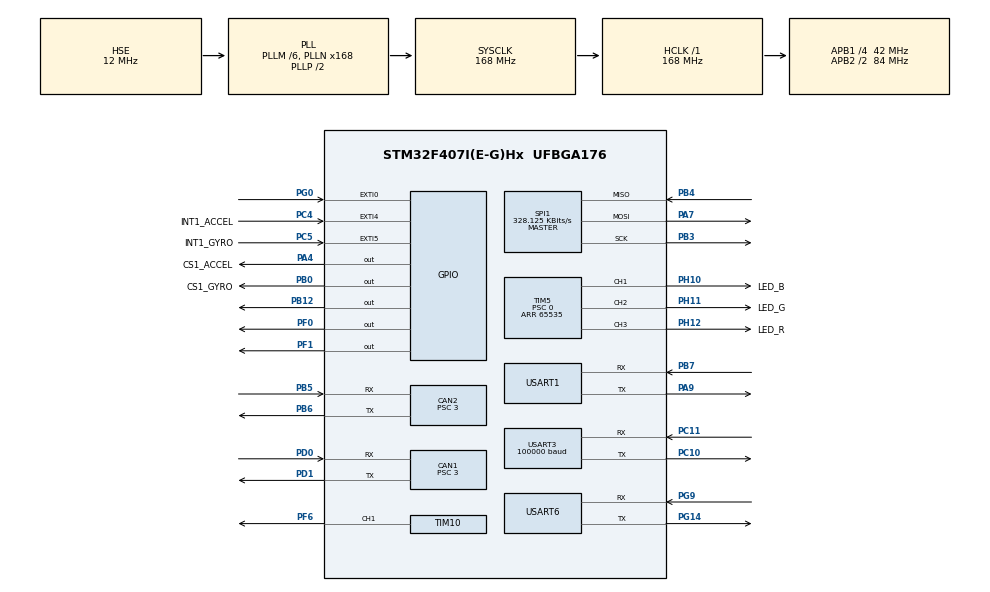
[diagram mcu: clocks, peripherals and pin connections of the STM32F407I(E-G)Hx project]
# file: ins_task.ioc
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CAN1.BS1=CAN_BS1_10TQ
CAN1.BS2=CAN_BS2_3TQ
CAN1.CalculateBaudRate=1000000
CAN1.CalculateTimeBit=1000
CAN1.CalculateTimeQuantum=71.42857142857143
CAN1.Prescaler=3
CAN2.BS1=CAN_BS1_10TQ
CAN2.BS2=CAN_BS2_3TQ
CAN2.CalculateBaudRate=1000000
CAN2.CalculateTimeBit=1000
CAN2.CalculateTimeQuantum=71.42857142857143
CAN2.Prescaler=3
Dma.Request0=SPI1_RX
Dma.Request1=SPI1_TX
Dma.Request2=USART6_RX
Dma.Request3=USART6_TX
Dma.Request4=USART1_RX
Dma.Request5=USART1_TX
Dma.Request6=USART3_RX
Dma.SPI1_RX.0.Direction=DMA_PERIPH_TO_MEMORY
Dma.SPI1_RX.0.FIFOMode=DMA_FIFOMODE_DISABLE
Dma.SPI1_RX.0.Instance=DMA2_Stream2
Dma.SPI1_RX.0.MemDataAlignment=DMA_MDATAALIGN_BYTE
Dma.SPI1_RX.0.MemInc=DMA_MINC_ENABLE
Dma.SPI1_RX.0.Mode=DMA_NORMAL
Dma.SPI1_RX.0.PeriphDataAlignment=DMA_PDATAALIGN_BYTE
Dma.SPI1_RX.0.PeriphInc=DMA_PINC_DISABLE
Dma.SPI1_RX.0.Priority=DMA_PRIORITY_VERY_HIGH
Dma.SPI1_TX.1.Direction=DMA_MEMORY_TO_PERIPH
Dma.SPI1_TX.1.FIFOMode=DMA_FIFOMODE_DISABLE
Dma.SPI1_TX.1.Instance=DMA2_Stream3
Dma.SPI1_TX.1.MemDataAlignment=DMA_MDATAALIGN_BYTE
Dma.SPI1_TX.1.MemInc=DMA_MINC_ENABLE
Dma.SPI1_TX.1.Mode=DMA_NORMAL
Dma.SPI1_TX.1.PeriphDataAlignment=DMA_PDATAALIGN_BYTE
Dma.SPI1_TX.1.PeriphInc=DMA_PINC_DISABLE
Dma.SPI1_TX.1.Priority=DMA_PRIORITY_HIGH
Dma.USART1_RX.4.Direction=DMA_PERIPH_TO_MEMORY
Dma.USART1_RX.4.FIFOMode=DMA_FIFOMODE_DISABLE
Dma.USART1_RX.4.Instance=DMA2_Stream5
Dma.USART1_RX.4.MemDataAlignment=DMA_MDATAALIGN_BYTE
Dma.USART1_RX.4.MemInc=DMA_MINC_ENABLE
Dma.USART1_RX.4.Mode=DMA_NORMAL
Dma.USART1_RX.4.PeriphDataAlignment=DMA_PDATAALIGN_BYTE
Dma.USART1_RX.4.PeriphInc=DMA_PINC_DISABLE
Dma.USART1_RX.4.Priority=DMA_PRIORITY_LOW
Dma.USART1_TX.5.Direction=DMA_MEMORY_TO_PERIPH
Dma.USART1_TX.5.FIFOMode=DMA_FIFOMODE_DISABLE
Dma.USART1_TX.5.Instance=DMA2_Stream7
Dma.USART1_TX.5.MemDataAlignment=DMA_MDATAALIGN_BYTE
Dma.USART1_TX.5.MemInc=DMA_MINC_ENABLE
Dma.USART1_TX.5.Mode=DMA_NORMAL
Dma.USART1_TX.5.PeriphDataAlignment=DMA_PDATAALIGN_BYTE
Dma.USART1_TX.5.PeriphInc=DMA_PINC_DISABLE
Dma.USART1_TX.5.Priority=DMA_PRIORITY_LOW
Dma.USART3_RX.6.Direction=DMA_PERIPH_TO_MEMORY
Dma.USART3_RX.6.FIFOMode=DMA_FIFOMODE_DISABLE
Dma.USART3_RX.6.Instance=DMA1_Stream1
Dma.USART3_RX.6.MemDataAlignment=DMA_MDATAALIGN_BYTE
Dma.USART3_RX.6.MemInc=DMA_MINC_ENABLE
Dma.USART3_RX.6.Mode=DMA_NORMAL
Dma.USART3_RX.6.PeriphDataAlignment=DMA_PDATAALIGN_BYTE
Dma.USART3_RX.6.PeriphInc=DMA_PINC_DISABLE
Dma.USART3_RX.6.Priority=DMA_PRIORITY_VERY_HIGH
Dma.USART6_RX.2.Direction=DMA_PERIPH_TO_MEMORY
Dma.USART6_RX.2.FIFOMode=DMA_FIFOMODE_DISABLE
Dma.USART6_RX.2.Instance=DMA2_Stream1
Dma.USART6_RX.2.MemDataAlignment=DMA_MDATAALIGN_BYTE
Dma.USART6_RX.2.MemInc=DMA_MINC_ENABLE
Dma.USART6_RX.2.Mode=DMA_NORMAL
Dma.USART6_RX.2.PeriphDataAlignment=DMA_PDATAALIGN_BYTE
Dma.USART6_RX.2.PeriphInc=DMA_PINC_DISABLE
Dma.USART6_RX.2.Priority=DMA_PRIORITY_LOW
Dma.USART6_TX.3.Direction=DMA_MEMORY_TO_PERIPH
Dma.USART6_TX.3.FIFOMode=DMA_FIFOMODE_DISABLE
Dma.USART6_TX.3.Instance=DMA2_Stream6
Dma.USART6_TX.3.MemDataAlignment=DMA_MDATAALIGN_BYTE
Dma.USART6_TX.3.MemInc=DMA_MINC_ENABLE
Dma.USART6_TX.3.Mode=DMA_NORMAL
Dma.USART6_TX.3.PeriphDataAlignment=DMA_PDATAALIGN_BYTE
Dma.USART6_TX.3.PeriphInc=DMA_PINC_DISABLE
Dma.USART6_TX.3.Priority=DMA_PRIORITY_LOW
FREERTOS.INCLUDE_eTaskGetState=1
FREERTOS.INCLUDE_pcTaskGetTaskName=1
FREERTOS.INCLUDE_uxTaskGetStackHighWaterMark=1
FREERTOS.INCLUDE_vTaskCleanUpResources=1
FREERTOS.INCLUDE_vTaskDelayUntil=1
FREERTOS.INCLUDE_xEventGroupSetBitFromISR=1
FREERTOS.INCLUDE_xQueueGetMutexHolder=1
FREERTOS.INCLUDE_xSemaphoreGetMutexHolder=1
FREERTOS.INCLUDE_xTaskAbortDelay=1
FREERTOS.INCLUDE_xTaskGetCurrentTaskHandle=1
FREERTOS.INCLUDE_xTaskGetHandle=1
FREERTOS.INCLUDE_xTimerPendFunctionCall=1
FREERTOS.Tasks01=test,0,128,test_task,As weak,NULL,Dynamic,NULL,NULL;myTask02,-3,128,StartTask02,Default,NULL,Dynamic,NULL,NULL
FREERTOS.configTOTAL_HEAP_SIZE=24576
Mcu.Family=STM32F4
Mcu.Name=STM32F407I(E-G)Hx
Mcu.Package=UFBGA176
NVIC.CAN1_RX0_IRQn=true\:5\:0\:false\:false\:true\:true\:true\:true\:true
NVIC.CAN2_RX0_IRQn=true\:5\:0\:false\:false\:true\:true\:true\:true\:true
NVIC.DMA1_Stream1_IRQn=true\:5\:0\:false\:false\:true\:true\:false\:true\:true
NVIC.DMA2_Stream1_IRQn=true\:5\:0\:false\:false\:true\:true\:false\:true\:true
NVIC.DMA2_Stream2_IRQn=true\:5\:0\:true\:false\:false\:true\:false\:true\:true
NVIC.DMA2_Stream3_IRQn=true\:5\:0\:true\:false\:false\:true\:false\:true\:true
NVIC.DMA2_Stream5_IRQn=true\:5\:0\:false\:false\:true\:true\:false\:true\:true
NVIC.DMA2_Stream6_IRQn=true\:5\:0\:false\:false\:true\:true\:false\:true\:true
NVIC.DMA2_Stream7_IRQn=true\:5\:0\:false\:false\:true\:true\:false\:true\:true
NVIC.EXTI0_IRQn=true\:6\:0\:true\:false\:true\:true\:true\:true\:true
NVIC.EXTI4_IRQn=true\:5\:0\:true\:false\:true\:true\:true\:true\:true
NVIC.EXTI9_5_IRQn=true\:5\:0\:true\:false\:true\:true\:true\:true\:true
NVIC.PriorityGroup=NVIC_PRIORITYGROUP_4
NVIC.TIM4_IRQn=true\:15\:0\:false\:false\:true\:false\:false\:true\:true
NVIC.TimeBase=TIM4_IRQn
NVIC.TimeBaseIP=TIM4
NVIC.USART1_IRQn=true\:5\:0\:false\:false\:true\:true\:true\:true\:true
NVIC.USART3_IRQn=true\:5\:0\:false\:false\:true\:true\:true\:true\:true
NVIC.USART6_IRQn=true\:5\:0\:false\:false\:true\:true\:true\:true\:true
PA13.Mode=Serial_Wire
PA13.Signal=SYS_JTMS-SWDIO
PA14.Mode=Serial_Wire
PA14.Signal=SYS_JTCK-SWCLK
PA4.GPIO_Label=CS1_ACCEL
PA4.GPIO_PuPd=GPIO_PULLUP
PA4.GPIO_Speed=GPIO_SPEED_FREQ_HIGH
PA4.PinState=GPIO_PIN_SET
PA4.Signal=GPIO_Output
PA7.GPIO_PuPd=GPIO_PULLUP
PA7.Mode=Full_Duplex_Master
PA7.Signal=SPI1_MOSI
PA9.Mode=Asynchronous
PA9.Signal=USART1_TX
PB0.GPIO_Label=CS1_GYRO
PB0.GPIO_PuPd=GPIO_PULLUP
PB0.GPIO_Speed=GPIO_SPEED_FREQ_HIGH
PB0.PinState=GPIO_PIN_SET
PB0.Signal=GPIO_Output
PB12.GPIO_ModeDefaultOutputPP=GPIO_MODE_OUTPUT_PP
PB12.GPIO_PuPd=GPIO_NOPULL
PB12.PinState=GPIO_PIN_RESET
PB12.Signal=GPIO_Output
PB3.GPIO_PuPd=GPIO_PULLUP
PB3.Mode=Full_Duplex_Master
PB3.Signal=SPI1_SCK
PB4.GPIO_PuPd=GPIO_PULLUP
PB4.Mode=Full_Duplex_Master
PB4.Signal=SPI1_MISO
PB5.Mode=CAN_Activate
PB5.Signal=CAN2_RX
PB6.Mode=CAN_Activate
PB6.Signal=CAN2_TX
PB7.Mode=Asynchronous
PB7.Signal=USART1_RX
PC10.Mode=Asynchronous
PC10.Signal=USART3_TX
PC11.Mode=Asynchronous
PC11.Signal=USART3_RX
PC4.GPIO_Label=INT1_ACCEL
PC4.GPIO_ModeDefaultEXTI=GPIO_MODE_IT_FALLING
PC4.GPIO_PuPd=GPIO_PULLUP
PC4.Signal=GPXTI4
PC5.GPIO_Label=INT1_GYRO
PC5.GPIO_ModeDefaultEXTI=GPIO_MODE_IT_FALLING
PC5.GPIO_PuPd=GPIO_PULLUP
PC5.Signal=GPXTI5
PD0.Mode=CAN_Activate
PD0.Signal=CAN1_RX
PD1.Mode=CAN_Activate
PD1.Signal=CAN1_TX
PF0.GPIO_PuPd=GPIO_NOPULL
PF0.PinState=GPIO_PIN_RESET
PF0.Signal=GPIO_Output
PF1.GPIO_PuPd=GPIO_NOPULL
PF1.PinState=GPIO_PIN_RESET
PF1.Signal=GPIO_Output
PF6.GPIO_PuPd=GPIO_PULLUP
PF6.GPIO_Speed=GPIO_SPEED_FREQ_HIGH
PF6.Signal=S_TIM10_CH1
PG0.GPIO_ModeDefaultEXTI=GPIO_MODE_IT_FALLING
PG0.GPIO_PuPd=GPIO_PULLUP
PG0.Signal=GPXTI0
PG14.Mode=Asynchronous
PG14.Signal=USART6_TX
PG9.Mode=Asynchronous
PG9.Signal=USART6_RX
PH0-OSC_IN.Mode=HSE-External-Oscillator
PH0-OSC_IN.Signal=RCC_OSC_IN
PH1-OSC_OUT.Mode=HSE-External-Oscillator
PH1-OSC_OUT.Signal=RCC_OSC_OUT
PH10.GPIO_Label=LED_B
PH10.GPIO_PuPd=GPIO_PULLUP
PH10.GPIO_Speed=GPIO_SPEED_FREQ_HIGH
PH10.Signal=S_TIM5_CH1
PH11.GPIO_Label=LED_G
PH11.GPIO_PuPd=GPIO_PULLUP
PH11.GPIO_Speed=GPIO_SPEED_FREQ_HIGH
PH11.Signal=S_TIM5_CH2
PH12.GPIO_Label=LED_R
PH12.GPIO_PuPd=GPIO_PULLUP
PH12.GPIO_Speed=GPIO_SPEED_FREQ_HIGH
PH12.Signal=S_TIM5_CH3
ProjectManager.HeapSize=0x2000
ProjectManager.StackSize=0x2000
ProjectManager.TargetToolchain=MDK-ARM V5
RCC.48MHZClocksFreq_Value=48000000
RCC.AHBFreq_Value=168000000
RCC.APB1CLKDivider=RCC_HCLK_DIV4
RCC.APB1Freq_Value=42000000
RCC.APB1TimFreq_Value=84000000
RCC.APB2CLKDivider=RCC_HCLK_DIV2
RCC.APB2Freq_Value=84000000
RCC.APB2TimFreq_Value=168000000
RCC.CortexFreq_Value=168000000
RCC.HCLKFreq_Value=168000000
RCC.HSE_VALUE=12000000
RCC.HSI_VALUE=16000000
RCC.LSE_VALUE=32768
RCC.PLLM=6
RCC.PLLN=168
RCC.PLLQ=7
RCC.PLLSourceVirtual=RCC_PLLSOURCE_HSE
RCC.RCC_RTC_Clock_SourceVirtual=RCC_RTCCLKSOURCE_HSE_DIV30
RCC.RCC_RTC_Clock_Source_FROM_HSE=RCC_RTCCLKSOURCE_HSE_DIV30
RCC.SYSCLKFreq_VALUE=168000000
RCC.SYSCLKSource=RCC_SYSCLKSOURCE_PLLCLK
RCC.VCOOutputFreq_Value=336000000
SH.S_TIM10_CH1.0=TIM10_CH1,PWM Generation1 CH1
SH.S_TIM5_CH1.0=TIM5_CH1,PWM Generation1 CH1
SH.S_TIM5_CH2.0=TIM5_CH2,PWM Generation2 CH2
SH.S_TIM5_CH3.0=TIM5_CH3,PWM Generation3 CH3
SPI1.BaudRatePrescaler=SPI_BAUDRATEPRESCALER_256
SPI1.CLKPhase=SPI_PHASE_2EDGE
SPI1.CLKPolarity=SPI_POLARITY_HIGH
SPI1.CalculateBaudRate=328.125 KBits/s
SPI1.Direction=SPI_DIRECTION_2LINES
SPI1.Mode=SPI_MODE_MASTER
SPI1.VirtualType=VM_MASTER
TIM10.Channel=TIM_CHANNEL_1
TIM10.Period=4999
TIM5.Channel-PWM\ Generation1\ CH1=TIM_CHANNEL_1
TIM5.Channel-PWM\ Generation2\ CH2=TIM_CHANNEL_2
TIM5.Channel-PWM\ Generation3\ CH3=TIM_CHANNEL_3
TIM5.Period=65535
TIM5.Prescaler=0
USART1.VirtualMode=VM_ASYNC
USART3.BaudRate=100000
USART3.Parity=PARITY_NONE
USART3.VirtualMode=VM_ASYNC
USART6.VirtualMode=VM_ASYNC
VP_FREERTOS_VS_CMSIS_V1.Mode=CMSIS_V1
VP_SYS_VS_tim4.Mode=TIM4
VP_TIM10_VS_ClockSourceINT.Mode=Enable_Timer
VP_TIM5_VS_ClockSourceINT.Mode=Internal
board=custom

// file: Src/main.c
/* USER CODE BEGIN Header */
/**
  ******************************************************************************
  * @file           : main.c
  * @brief          : Main program body
  ******************************************************************************
  * @attention
  *
  * <h2><center>&copy; Copyright (c) 2019 STMicroelectronics.
  * All rights reserved.</center></h2>
  *
  * This software component is licensed by ST under Ultimate Liberty license
  * SLA0044, the "License"; You may not use this file except in compliance with
  * the License. You may obtain a copy of the License at:
  *                             www.st.com/SLA0044
  *
  ******************************************************************************
  */
/* USER CODE END Header */
#include "main.h"
#include "cmsis_os.h"
#include "can.h"
#include "dma.h"
#include "spi.h"
#include "tim.h"
#include "usart.h"
#include "gpio.h"

/* USER CODE BEGIN Includes */
#include "bsp_delay.h"
#include "DBUS_remote_control.h"
/* USER CODE END Includes */

/* USER CODE BEGIN PV */
uint8_t rxda=0;
/* USER CODE END PV */

void SystemClock_Config(void);
void MX_FREERTOS_Init(void);

int main(void)
{

  /* MCU Configuration--------------------------------------------------------*/

  /* Reset of all peripherals, Initializes the Flash interface and the Systick. */
  HAL_Init();

  /* Configure the system clock */
  SystemClock_Config();

  /* Initialize all configured peripherals */
  MX_GPIO_Init();
  MX_DMA_Init();
  MX_SPI1_Init();
  MX_TIM5_Init();
  MX_TIM10_Init();
  MX_USART6_UART_Init();
  MX_CAN1_Init();
  MX_CAN2_Init();
  MX_USART1_UART_Init();
  MX_USART3_UART_Init();
  /* USER CODE BEGIN 2 */
    delay_init();
	remote_control_init();
 can_filter_init();
  /* USER CODE END 2 */

  /* Call init function for freertos objects (in cmsis_os2.c) */
  MX_FREERTOS_Init();

  /* Start scheduler */
  osKernelStart();

  /* We should never get here as control is now taken by the scheduler */

  /* Infinite loop */
  while (1)
  {

  }
}

void SystemClock_Config(void)
{
  RCC_OscInitTypeDef RCC_OscInitStruct = {0};
  RCC_ClkInitTypeDef RCC_ClkInitStruct = {0};

  /** Configure the main internal regulator output voltage
  */
  __HAL_RCC_PWR_CLK_ENABLE();
  __HAL_PWR_VOLTAGESCALING_CONFIG(PWR_REGULATOR_VOLTAGE_SCALE1);

  /** Initializes the RCC Oscillators according to the specified parameters
  * in the RCC_OscInitTypeDef structure.
  */
  RCC_OscInitStruct.OscillatorType = RCC_OSCILLATORTYPE_HSE;
  RCC_OscInitStruct.HSEState = RCC_HSE_ON;
  RCC_OscInitStruct.PLL.PLLState = RCC_PLL_ON;
  RCC_OscInitStruct.PLL.PLLSource = RCC_PLLSOURCE_HSE;
  RCC_OscInitStruct.PLL.PLLM = 6;
  RCC_OscInitStruct.PLL.PLLN = 168;
  RCC_OscInitStruct.PLL.PLLP = RCC_PLLP_DIV2;
  RCC_OscInitStruct.PLL.PLLQ = 7;
  if (HAL_RCC_OscConfig(&RCC_OscInitStruct) != HAL_OK)
  {
    Error_Handler();
  }

  /** Initializes the CPU, AHB and APB buses clocks
  */
  RCC_ClkInitStruct.ClockType = RCC_CLOCKTYPE_HCLK|RCC_CLOCKTYPE_SYSCLK
                              |RCC_CLOCKTYPE_PCLK1|RCC_CLOCKTYPE_PCLK2;
  RCC_ClkInitStruct.SYSCLKSource = RCC_SYSCLKSOURCE_PLLCLK;
  RCC_ClkInitStruct.AHBCLKDivider = RCC_SYSCLK_DIV1;
  RCC_ClkInitStruct.APB1CLKDivider = RCC_HCLK_DIV4;
  RCC_ClkInitStruct.APB2CLKDivider = RCC_HCLK_DIV2;

  if (HAL_RCC_ClockConfig(&RCC_ClkInitStruct, FLASH_LATENCY_5) != HAL_OK)
  {
    Error_Handler();
  }
}

void HAL_TIM_PeriodElapsedCallback(TIM_HandleTypeDef *htim)
{
  if (htim->Instance == TIM4)
  {
    HAL_IncTick();
  }
}

void Error_Handler(void)
{
}

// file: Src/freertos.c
/* USER CODE BEGIN Header */
/**
  ******************************************************************************
  * File Name          : freertos.c
  * Description        : Code for freertos applications
  ******************************************************************************
  * @attention
  *
  * <h2><center>&copy; Copyright (c) 2019 STMicroelectronics.
  * All rights reserved.</center></h2>
  *
  * This software component is licensed by ST under Ultimate Liberty license
  * SLA0044, the "License"; You may not use this file except in compliance with
  * the License. You may obtain a copy of the License at:
  *                             www.st.com/SLA0044
  *
  ******************************************************************************
  */
/* USER CODE END Header */

#include "FreeRTOS.h"
#include "task.h"
#include "main.h"
#include "cmsis_os.h"

/* USER CODE BEGIN Includes */

#include "INS_task.h"
#include "led_flow_task.h"
#include "vofa_send.h"
/* USER CODE END Includes */

/* USER CODE BEGIN PTD */

osThreadId imuTaskHandle;
osThreadId led_RGB_flow_handle;
/* USER CODE END PTD */

osThreadId testHandle;
osThreadId myTask02Handle;

void test_task(void const * argument);
void StartTask02(void const * argument);

void MX_FREERTOS_Init(void); /* (MISRA C 2004 rule 8.1) */

/* GetIdleTaskMemory prototype (linked to static allocation support) */
void vApplicationGetIdleTaskMemory( StaticTask_t **ppxIdleTaskTCBBuffer, StackType_t **ppxIdleTaskStackBuffer, uint32_t *pulIdleTaskStackSize );

/* GetTimerTaskMemory prototype (linked to static allocation support) */
void vApplicationGetTimerTaskMemory( StaticTask_t **ppxTimerTaskTCBBuffer, StackType_t **ppxTimerTaskStackBuffer, uint32_t *pulTimerTaskStackSize );

/* USER CODE BEGIN GET_IDLE_TASK_MEMORY */
static StaticTask_t xIdleTaskTCBBuffer;
static StackType_t xIdleStack[configMINIMAL_STACK_SIZE];

void vApplicationGetIdleTaskMemory( StaticTask_t **ppxIdleTaskTCBBuffer, StackType_t **ppxIdleTaskStackBuffer, uint32_t *pulIdleTaskStackSize )
{
  *ppxIdleTaskTCBBuffer = &xIdleTaskTCBBuffer;
  *ppxIdleTaskStackBuffer = &xIdleStack[0];
  *pulIdleTaskStackSize = configMINIMAL_STACK_SIZE;
  /* place for user code */
}
/* USER CODE END GET_IDLE_TASK_MEMORY */

/* USER CODE BEGIN GET_TIMER_TASK_MEMORY */
static StaticTask_t xTimerTaskTCBBuffer;
static StackType_t xTimerStack[configTIMER_TASK_STACK_DEPTH];

void vApplicationGetTimerTaskMemory( StaticTask_t **ppxTimerTaskTCBBuffer, StackType_t **ppxTimerTaskStackBuffer, uint32_t *pulTimerTaskStackSize )
{
  *ppxTimerTaskTCBBuffer = &xTimerTaskTCBBuffer;
  *ppxTimerTaskStackBuffer = &xTimerStack[0];
  *pulTimerTaskStackSize = configTIMER_TASK_STACK_DEPTH;
  /* place for user code */
}
/* USER CODE END GET_TIMER_TASK_MEMORY */

void MX_FREERTOS_Init(void) {

  /* Create the thread(s) */
  /* definition and creation of test */
  osThreadDef(test, test_task, osPriorityNormal+1, 0, 128);
  testHandle = osThreadCreate(osThread(test), NULL);

  /* definition and creation of myTask02 */
  osThreadDef(myTask02, StartTask02, osPriorityIdle, 0, 128);
  myTask02Handle = osThreadCreate(osThread(myTask02), NULL);

  /* USER CODE BEGIN RTOS_THREADS */
  /* add threads, ... */
    osThreadDef(imuTask, INS_task, osPriorityRealtime, 0, 1024);
    imuTaskHandle = osThreadCreate(osThread(imuTask), NULL);

    osThreadDef(led, led_RGB_flow_task, osPriorityNormal, 0, 256);
    led_RGB_flow_handle = osThreadCreate(osThread(led), NULL);
  /* USER CODE END RTOS_THREADS */

}

__weak void test_task(void const * argument)
{
  for(;;)
  {
    osDelay(1);
  }
}

void StartTask02(void const * argument)
{
  for(;;)
  {
    osDelay(1);
  }
}
